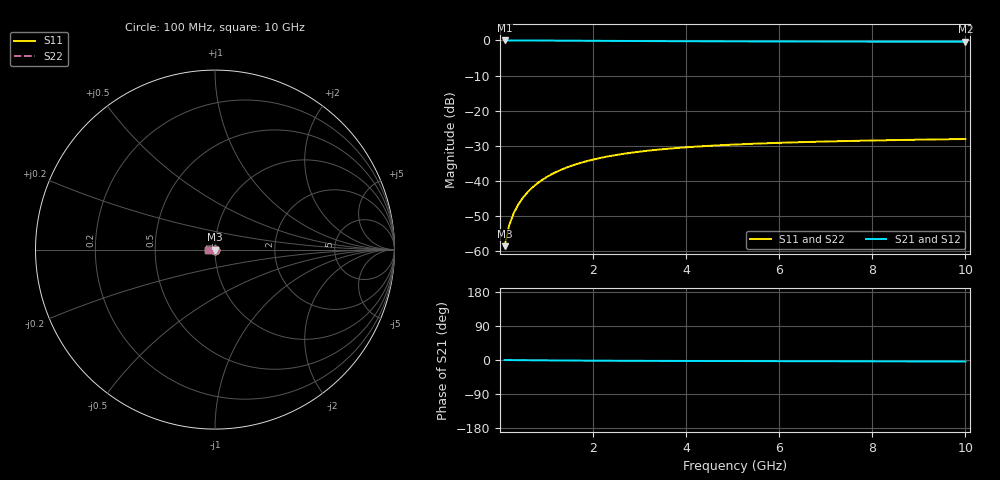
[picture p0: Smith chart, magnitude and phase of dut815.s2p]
! Touchstone file exported from HFSS 2024.1.0
!  File:  C:/UserFiles/LocalFiles/RDL_TSV_Batchsim/temp_TSV1_815_1779877617.aedt
!  Generated:  06:32:14 PM May 27, 2026
!  Design:  TSV1
!  Project:  temp_TSV1_815_1779877617
!  Setup:  Setup1
!  Solution:  Sweep
! Variables:
!  dtsv = 13.28um
!  hbump = 3um
!  htsv = 59.18um
!  lrdl = 252.1521522um
!  p = 40
!  p1 = 55.84um
!  t = 500um
!  trdl = 3um
!  wrdl = 24.89489489um
# GHz S MA R 50.000000
! Terminal data exported
! Port[1] = TSV22_T1
! Port[2] = TSV22_T2
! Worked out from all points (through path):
!   100 points, 100 MHz to 10 GHz, reference 50 ohm
!   highest |S21| = 0.00 dB at 100 MHz (marker M1); lowest = -0.4 dB at 10 GHz (marker M2)
!   lowest |S11| = -58.6 dB at 100 MHz (marker M3), VSWR 1.00, Z = 50 - j0.117 ohm
!   |S11| at or under -10 dB: start of sweep to end of sweep
!   |S22| runs from -58.6 to -28.1 dB; largest |S21 - S12| = 9.5e-15
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0.1  0.001174 -88.4  0.9999 -0.1  0.9999 -0.1  0.001174 -88.4
! Gamma 0 0 0 0
! Port Impedance 50 0 50 0
0.2  0.002345 -91.9  0.9998 -0.2  0.9998 -0.2  0.002345 -91.9
0.3  0.003514 -94.3  0.9995 -0.3  0.9995 -0.3  0.003514 -94.3
0.4  0.004677 -96.5  0.9992 -0.4  0.9992 -0.4  0.004677 -96.5
0.5  0.005828 -98.6  0.9989 -0.5  0.9989 -0.5  0.005828 -98.6
0.6  0.006963 -100.6  0.9985 -0.6  0.9985 -0.6  0.006963 -100.6
0.7  0.00808 -102.6  0.998 -0.7  0.998 -0.7  0.00808 -102.6
0.8  0.009174 -104.5  0.9974 -0.8  0.9974 -0.8  0.009174 -104.5
0.9  0.01024 -106.4  0.9968 -0.9  0.9968 -0.9  0.01024 -106.4
1.1  0.0123 -110.0  0.9955 -1.1  0.9955 -1.1  0.0123 -110.0
1.4  0.01517 -115.2  0.9933 -1.3  0.9933 -1.3  0.01517 -115.2
1.6  0.01693 -118.4  0.9917 -1.5  0.9917 -1.5  0.01693 -118.4
1.8  0.01857 -121.5  0.9901 -1.6  0.9901 -1.6  0.01857 -121.5
2.1  0.0208 -125.8  0.9876 -1.8  0.9876 -1.8  0.0208 -125.8
2.5  0.02338 -131.1  0.9845 -2.0  0.9845 -2.0  0.02338 -131.1
2.9  0.02556 -135.8  0.9815 -2.2  0.9815 -2.2  0.02556 -135.8
3.4  0.02784 -141.0  0.9782 -2.4  0.9782 -2.4  0.02784 -141.0
4.2  0.03067 -148.0  0.9738 -2.6  0.9738 -2.6  0.03067 -148.0
5.1  0.03303 -154.6  0.9699 -2.8  0.9699 -2.8  0.03303 -154.6
6.7  0.03591 -163.8  0.965 -3.2  0.965 -3.2  0.03591 -163.8
8.4  0.03799 -171.5  0.9616 -3.6  0.9616 -3.6  0.03799 -171.5
10  0.03945 -177.5  0.9595 -4.0  0.9595 -4.0  0.03945 -177.5
